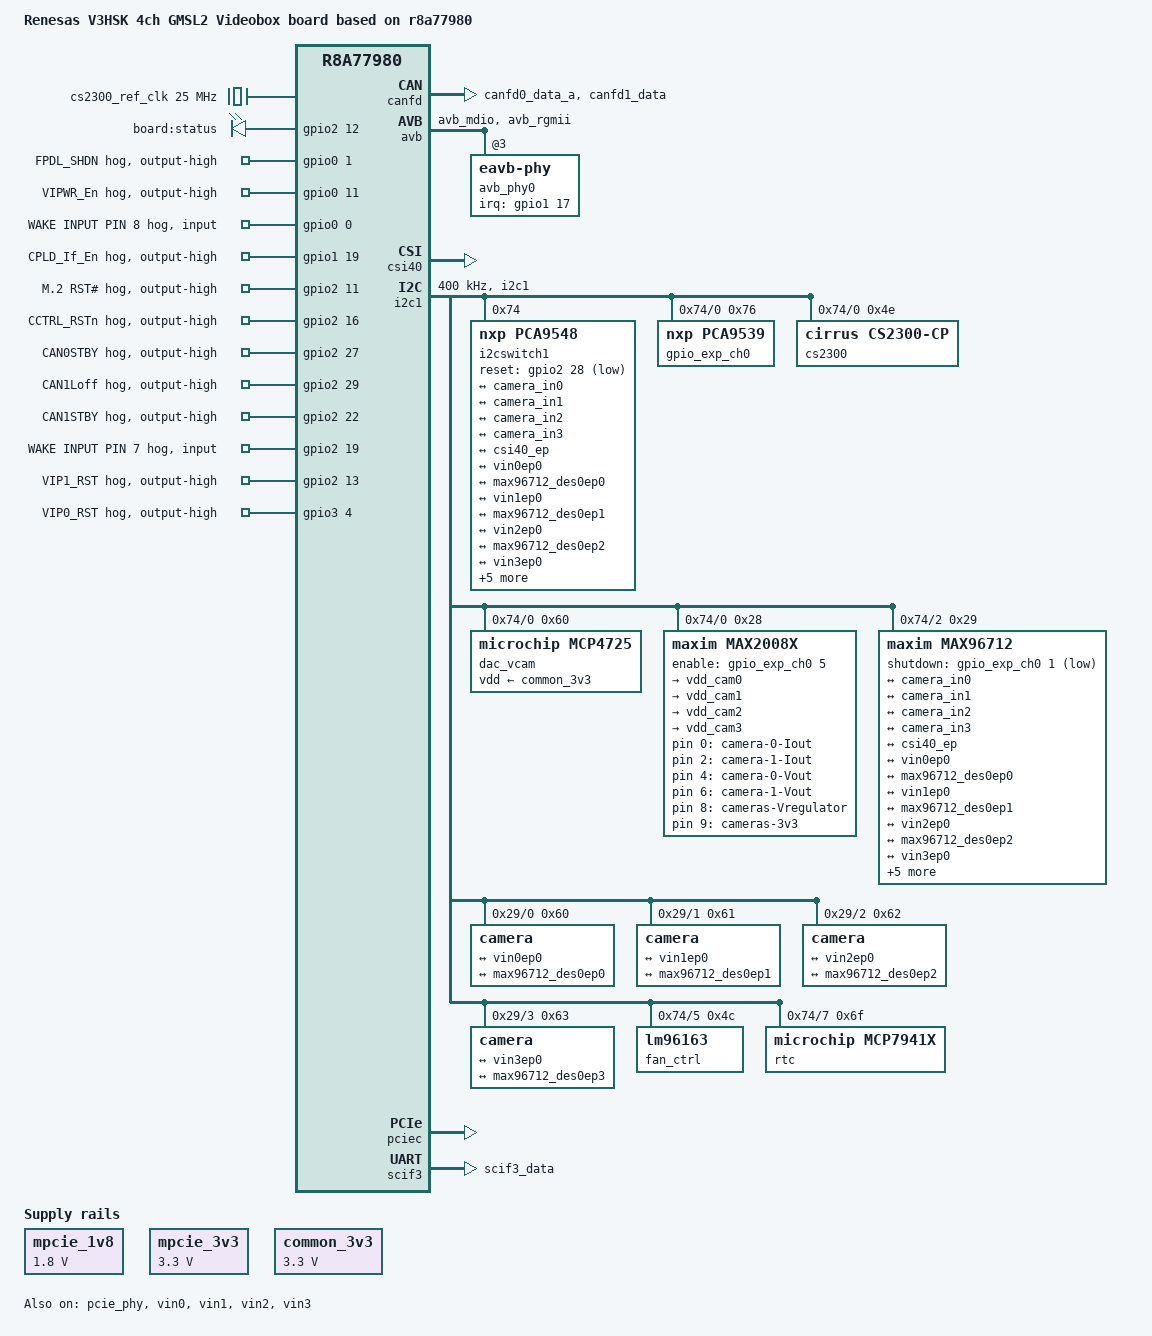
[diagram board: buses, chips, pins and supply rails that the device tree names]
/*
 * Device Tree Source for the V3HSK GMSL2 Quad Videobox Mini board on r8a7798
 *
 * Copyright (C) 2019 Cogent Embedded, Inc.
 *
 * This file is licensed under the terms of the GNU General Public License
 * version 2.  This program is licensed "as is" without any warranty of any
 * kind, whether express or implied.
 */

#include "r8a77980-v3hsk.dts"
#include <dt-bindings/gpio/gpio.h>
/* FDPLink output */
//#include "vb-fdplink-output.dtsi"
#include "camera.dtsi"

/ {
	model = "Renesas V3HSK 4ch GMSL2 Videobox board based on r8a77980";

	aliases {
		serial1 = &scif3;
		ethernet1 = &avb;
	};

	cs2300_ref_clk: cs2300_ref_clk {
		compatible = "fixed-clock";
		#clock-cells = <0>;
		clock-frequency = <25000000>;
	};

	leds {
		compatible = "gpio-leds";

		led0 {
			label = "board:status";
			gpios = <&gpio2 12 GPIO_ACTIVE_HIGH>;
			linux,default-trigger = "none";
		};
	};

	mpcie_1v8: regulator2 {
		compatible = "regulator-fixed";
		regulator-name = "mPCIe 1v8";
		regulator-min-microvolt = <1800000>;
		regulator-max-microvolt = <1800000>;
		regulator-boot-on;
		regulator-always-on;
	};

	mpcie_3v3: regulator3 {
		compatible = "regulator-fixed";
		regulator-name = "mPCIe 3v3";
		regulator-min-microvolt = <3300000>;
		regulator-max-microvolt = <3300000>;
		regulator-boot-on;
		regulator-always-on;
	};

	common_3v3: regulator4 {
		compatible = "regulator-fixed";
		regulator-name = "main 3v3";
		regulator-min-microvolt = <3300000>;
		regulator-max-microvolt = <3300000>;
		regulator-boot-on;
		regulator-always-on;
	};

	iio_hwmon: hwmon@1 {
		compatible = "iio-hwmon";
		io-channels =
			/* current */
			<&max2008x 0>,
			<&max2008x 2>,
			/* voltage */
			<&max2008x 4>,
			<&max2008x 6>,
			/* misc voltages */
			<&max2008x 8>,
			<&max2008x 9>;
		io-channel-names =
			"camera-0-Iout",
			"camera-1-Iout",
			"camera-0-Vout",
			"camera-1-Vout",
			"cameras-Vregulator",
			"cameras-3v3";
	};
};

&canfd {
	pinctrl-0 = <&canfd0_pins &canfd1_pins>;
	pinctrl-names = "default";
	status = "okay";

	channel0 {
		status = "okay";
	};

	channel1 {
		status = "okay";
	};
};

&avb {
	pinctrl-0 = <&avb_pins>;
	pinctrl-names = "default";
	renesas,no-ether-link;
	phy-handle = <&avb_phy0>;
	status = "okay";
	phy-int-gpio = <&gpio1 17 GPIO_ACTIVE_LOW>;

	avb_phy0: eavb-phy@0 {
		rxc-skew-ps = <1500>;
		rxdv-skew-ps = <420>; /* default */
		rxd0-skew-ps = <420>; /* default */
		rxd1-skew-ps = <420>; /* default */
		rxd2-skew-ps = <420>; /* default */
		rxd3-skew-ps = <420>; /* default */
		txc-skew-ps = <900>; /* default */
		txen-skew-ps = <420>; /* default */
		txd0-skew-ps = <420>; /* default */
		txd1-skew-ps = <420>; /* default */
		txd2-skew-ps = <420>; /* default */
		txd3-skew-ps = <420>; /* default */
		reg = <3>;
		interrupt-parent = <&gpio1>;
		interrupts = <17 IRQ_TYPE_LEVEL_LOW>;
		max-speed = <1000>;
	};
};

&csi40 {
	status = "okay";

	port {
		#address-cells = <1>;
		#size-cells = <0>;

		csi40_ep: endpoint {
			clock-lanes = <0>;
			data-lanes = <1 2 3 4>;
			csi-rate = <1200>;
		};
	};
};

&i2c1 {
	pinctrl-0 = <&i2c1_pins>;
	pinctrl-names = "default";
	status = "okay";

	clock-frequency = <400000>;

	i2cswitch1: i2c-switch@74 {
		compatible = "nxp,pca9548";
		#address-cells = <1>;
		#size-cells = <0>;
		reg = <0x74>;
		reset-gpios = <&gpio2 28 GPIO_ACTIVE_LOW>;

		/* CCTRL_SDA and CCTRL_SCL */
		i2c@0 {
			#address-cells = <1>;
			#size-cells = <0>;
			reg = <0>;

			gpio_exp_ch0: gpio_ch0@76 {
				compatible = "nxp,pca9539";
				reg = <0x76>;
				gpio-controller;
				#gpio-cells = <2>;

				cmr_pwr_en {
					gpio-hog;
					gpios = <3 GPIO_ACTIVE_HIGH>;
					output-high;
					line-name = "CmrPEn";
				};
			};

			cs2300: clk_multiplier@4e {
				#clock-cells = <0>;
				compatible = "cirrus,cs2300-cp";
				reg = <0x4e>;
				clocks = <&cs2300_ref_clk>;
				clock-names = "clk_in";

				assigned-clocks = <&cs2300>;
				assigned-clock-rates = <25000000>;
			};

			dac_vcam: dac_vcam@60 {
				compatible = "microchip,mcp4725";
				reg = <0x60>;
				vdd-supply = <&common_3v3>;
			};

			max2008x: vcam_switch@28 {
				compatible = "maxim,max2008x";
				reg = <0x28>;
				#io-channel-cells = <1>;
				enable-gpios = <&gpio_exp_ch0 5 GPIO_ACTIVE_HIGH>;

				regulators {
					#address-cells = <1>;
					#size-cells = <0>;

					vdd_cam0: SW0 {
						reg = <0>;
						regulator-name = "Camera-0";
					};
					vdd_cam1: SW1 {
						reg = <1>;
						regulator-name = "Camera-1";
					};
					vdd_cam2: SW2 {
						reg = <2>;
						regulator-name = "Camera-2";
					};
					vdd_cam3: SW3 {
						reg = <3>;
						regulator-name = "Camera-3";
					};
				};
			};
		};

		/* DS0_SDA and DS0_SCL */
		i2c@2 {
			#address-cells = <1>;
			#size-cells = <0>;
			reg = <2>;

			max96712@29 {
				compatible = "maxim,max96712";
				#address-cells = <1>;
				#size-cells = <0>;
				reg = <0x29>;
				clocks = <&cs2300>;
				clock-names = "ref_clk";
				shutdown-gpios = <&gpio_exp_ch0 1 GPIO_ACTIVE_LOW>;

				maxim,links-mipi-map = <2 2 2 2>;

				poc0-supply = <&vdd_cam3>;
				poc1-supply = <&vdd_cam1>;
				poc2-supply = <&vdd_cam0>;
				poc3-supply = <&vdd_cam2>;

				port@0 {
					max96712_des0ep0: endpoint@0 {
						ser-addr = <0x0c>;
						remote-endpoint = <&camera_in0>;
					};
					max96712_des0ep1: endpoint@1 {
						ser-addr = <0x0d>;
						remote-endpoint = <&camera_in1>;
					};
					max96712_des0ep2: endpoint@2 {
						ser-addr = <0x0e>;
						remote-endpoint = <&camera_in2>;
					};
					max96712_des0ep3: endpoint@3 {
						ser-addr = <0x0f>;
						remote-endpoint = <&camera_in3>;
					};
				};

				port@1 {
					max96712_mipi2: endpoint {
						csi-rate = <1200>;
						remote-endpoint = <&csi40_ep>;
					};
				};

				i2c@0 {
					#address-cells = <1>;
					#size-cells = <0>;
					reg = <0>;

					camera@60 {
						compatible = COMPATIBLE_CAMERAS;
						reg = <0x60 0x0c>;

						port@0 {
							camera_in0: endpoint {
								clock-lanes = <0>;
								data-lanes = <1 2 3 4>;
								remote-endpoint = <&vin0ep0>;
							};
						};
						port@1 {
							camera_max96712_des0ep0: endpoint@1 {
								remote-endpoint = <&max96712_des0ep0>;
							};
						};
					};
				};

				i2c@1 {
					#address-cells = <1>;
					#size-cells = <0>;
					reg = <1>;

					camera@61 {
						compatible = COMPATIBLE_CAMERAS;
						reg = <0x61 0x0d>;

						port@0 {
							camera_in1: endpoint {
								clock-lanes = <0>;
								data-lanes = <1 2 3 4>;
								remote-endpoint = <&vin1ep0>;
							};
						};
						port@1 {
							camera_max96712_des0ep1: endpoint@1 {
								remote-endpoint = <&max96712_des0ep1>;
							};
						};
					};
				};

				i2c@2 {
					#address-cells = <1>;
					#size-cells = <0>;
					reg = <2>;

					camera@62 {
						compatible = COMPATIBLE_CAMERAS;
						reg = <0x62 0x0e>;

						port@0 {
							camera_in2: endpoint {
								clock-lanes = <0>;
								data-lanes = <1 2 3 4>;
								remote-endpoint = <&vin2ep0>;
							};
						};
						port@1 {
							camera_max96712_des0ep2: endpoint@1 {
								remote-endpoint = <&max96712_des0ep2>;
							};
						};
					};
				};

				i2c@3 {
					#address-cells = <1>;
					#size-cells = <0>;
					reg = <3>;

					camera@63 {
						compatible = COMPATIBLE_CAMERAS;
						reg = <0x63 0x0f>;

						port@0 {
							camera_in3: endpoint {
								clock-lanes = <0>;
								data-lanes = <1 2 3 4>;
								remote-endpoint = <&vin3ep0>;
							};
						};
						port@1 {
							camera_max96712_des0ep3: endpoint@1 {
								remote-endpoint = <&max96712_des0ep3>;
							};
						};
					};
				};
			};
		};

		/* CTL0_SDA and CTL0_SCL */
		i2c@3 {
			#address-cells = <1>;
			#size-cells = <0>;
			reg = <3>;
		};

		/* Disp_SDA and Disp_SCL */
		i2c@5 {
			#address-cells = <1>;
			#size-cells = <0>;
			reg = <5>;

			/* fan node - lm96063 */
			fan_ctrl: lm96063@4c {
				compatible = "lm96163";
				reg = <0x4c>;
			};
		};

		/* ESDA and ESCL */
		i2c@7 {
			#address-cells = <1>;
			#size-cells = <0>;
			reg = <7>;

			rtc: mcp79411@6f {
				compatible = "microchip,mcp7941x";
				reg = <0x6f>;
			};
		};
	};
};

&gpio0 {
	fpdl_shdn {
		gpio-hog;
		gpios = <1 GPIO_ACTIVE_HIGH>;
		output-high;
		line-name = "FPDL_SHDN";
	};

	cam_pwr_en {
		gpio-hog;
		gpios = <11 GPIO_ACTIVE_HIGH>;
		output-high;
		line-name = "VIPWR_En";
	};

	wake_pin_8 {
		gpio-hog;
		gpios = <0 GPIO_ACTIVE_HIGH>;
		input;
		line-name = "WAKE INPUT PIN 8";
	};
};

&gpio1 {
	md_buf_en {
		gpio-hog;
		gpios = <19 GPIO_ACTIVE_HIGH>;
		output-high;
		line-name = "CPLD_If_En";
	};
};

&gpio2 {
	m2_rst {
		gpio-hog;
		gpios = <11 GPIO_ACTIVE_HIGH>;
		output-high;
		line-name = "M.2 RST#";
	};

	cctrl_rstn {
		gpio-hog;
		gpios = <16 GPIO_ACTIVE_HIGH>;
		output-high;
		line-name = "CCTRL_RSTn";
	};

	can0_stby {
		gpio-hog;
		gpios = <27 GPIO_ACTIVE_HIGH>;
		output-high;
		line-name = "CAN0STBY";
	};

	can1_load {
		gpio-hog;
		gpios = <29 GPIO_ACTIVE_HIGH>;
		output-high;
		line-name = "CAN1Loff";
	};

	can1_stby {
		gpio-hog;
		gpios = <22 GPIO_ACTIVE_HIGH>;
		output-high;
		line-name = "CAN1STBY";
	};

	wake_pin_7 {
		gpio-hog;
		gpios = <19 GPIO_ACTIVE_HIGH>;
		input;
		line-name = "WAKE INPUT PIN 7";
	};

	vi1_gpioext_rst {
		gpio-hog;
		gpios = <13 GPIO_ACTIVE_HIGH>;
		output-high;
		line-name = "VIP1_RST";
	};
};

&gpio3 {
	vi0_gpioext_rst {
		gpio-hog;
		gpios = <4 GPIO_ACTIVE_HIGH>;
		output-high;
		line-name = "VIP0_RST";
	};
};

&pcie_bus_clk {
	clock-frequency = <100000000>;
	status = "okay";
};

&pciec {
	pcie3v3-supply = <&mpcie_3v3>;
	pcie1v8-supply = <&mpcie_1v8>;
	status = "okay";
};

&pcie_phy {
	status = "okay";
};

&pfc {
	canfd0_pins: canfd0 {
		groups = "canfd0_data_a";
		function = "canfd0";
	};

	canfd1_pins: canfd1 {
		groups = "canfd1_data";
		function = "canfd1";
	};

	avb_pins: avb {
		groups = "avb_mdio", "avb_rgmii";
		function = "avb";
	};

	i2c1_pins: i2c1 {
		groups = "i2c1";
		function = "i2c1";
	};

	scif3_pins: scif3 {
		groups = "scif3_data";
		function = "scif3";
	};
};

&scif3 {
	pinctrl-0 = <&scif3_pins>;
	pinctrl-names = "default";

	status = "okay";
};

&tpu {
	status = "disabled";
};

&vin0 {
	status = "okay";

	ports {
		#address-cells = <1>;
		#size-cells = <0>;

		port@0 {
			vin0ep0: endpoint {
				csi,select = "csi40";
				virtual,channel = <0>;
				data-lanes = <1 2 3 4>;
				remote-endpoint = <&camera_in0>;
			};
		};
		port@1 {
			csi0ep0: endpoint {
				remote-endpoint = <&csi40_ep>;
			};
		};
		port@2 {
			vin0_max96712_des0ep0: endpoint@1 {
				remote-endpoint = <&max96712_des0ep0>;
			};
		};
	};
};

&vin1 {
	status = "okay";

	ports {
		#address-cells = <1>;
		#size-cells = <0>;

		port@0 {
			vin1ep0: endpoint {
				csi,select = "csi40";
				virtual,channel = <1>;
				data-lanes = <1 2 3 4>;
				remote-endpoint = <&camera_in1>;
			};
		};
		port@1 {
			csi0ep1: endpoint {
				remote-endpoint = <&csi40_ep>;
			};
		};
		port@2 {
			vin1_max96712_des0ep1: endpoint@1 {
				remote-endpoint = <&max96712_des0ep1>;
			};
		};
	};
};

&vin2 {
	status = "okay";

	ports {
		#address-cells = <1>;
		#size-cells = <0>;

		port@0 {
			vin2ep0: endpoint {
				csi,select = "csi40";
				virtual,channel = <2>;
				data-lanes = <1 2 3 4>;
				remote-endpoint = <&camera_in2>;
			};
		};
		port@1 {
			csi0ep2: endpoint {
				remote-endpoint = <&csi40_ep>;
			};
		};
		port@2 {
			vin2_max96712_des0ep2: endpoint@1 {
				remote-endpoint = <&max96712_des0ep2>;
			};
		};
	};
};

&vin3 {
	status = "okay";

	ports {
		#address-cells = <1>;
		#size-cells = <0>;

		port@0 {
			vin3ep0: endpoint {
				csi,select = "csi40";
				virtual,channel = <3>;
				data-lanes = <1 2 3 4>;
				remote-endpoint = <&camera_in3>;
			};
		};
		port@1 {
			csi0ep3: endpoint {
				remote-endpoint = <&csi40_ep>;
			};
		};
		port@2 {
			vin3_max96712_des0ep3: endpoint@1 {
				remote-endpoint = <&max96712_des0ep3>;
			};
		};
	};
};
